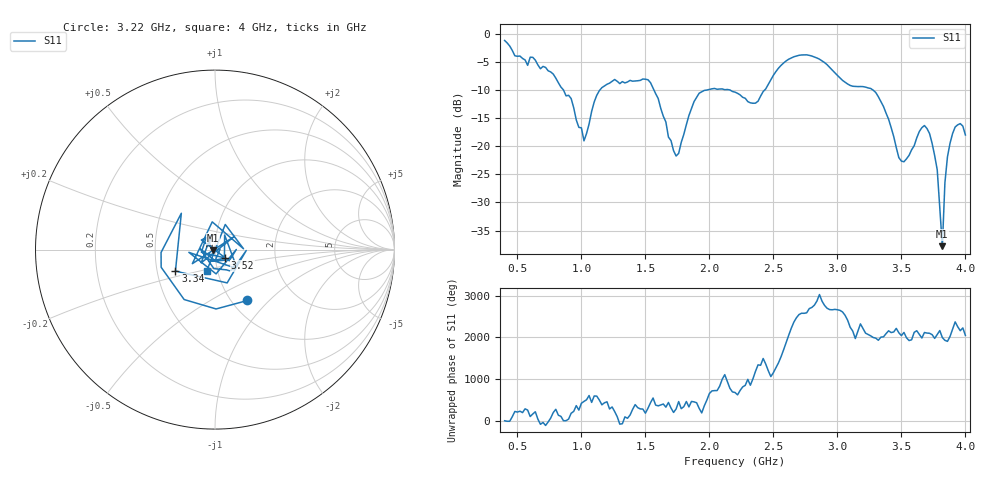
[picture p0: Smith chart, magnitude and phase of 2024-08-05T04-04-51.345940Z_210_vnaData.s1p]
!Created with skrf (http://scikit-rf.org).
# Hz S RI R 50.0
!freq ReS11 ImS11
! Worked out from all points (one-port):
!   181 points, 400 MHz to 4 GHz, reference 50 ohm
!   lowest |S11| = -37.8 dB at 3.82 GHz (marker M1), VSWR 1.03, Z = 48.8 - j0.361 ohm
!   |S11| at or under -10 dB: 860.6 MHz to 1.144 GHz (282.9 MHz wide, 28.2 % of centre); 1.567 GHz to 1.975 GHz (407.9 MHz wide, 23 % of centre); 3.279 GHz to end of sweep (the widest 3 of 4)
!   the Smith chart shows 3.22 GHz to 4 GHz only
!   S11 on the Smith chart (normalised r, x): 3.22 GHz: 1.18, -0.75; 3.34 GHz: 0.62, -0.16; 3.52 GHz: 1.11, -0.10; 4 GHz: 0.89, -0.21
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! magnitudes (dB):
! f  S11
! 400 MHz  -1.2
! 860 MHz  -10.0
! 920 MHz  -11.5
! 1.02 GHz  -19.0
! 1.14 GHz  -10.1
! 1.3 GHz  -8.8
! 1.54 GHz  -8.7
! 1.72 GHz  -20.8
! 1.76 GHz  -21.3
! 1.92 GHz  -10.5
! 2.2 GHz  -10.4
! 2.36 GHz  -12.3
! 2.66 GHz  -4.1
! 2.86 GHz  -4.5
! 3.1 GHz  -9.2
! 3.22 GHz  -9.5
! 3.34 GHz  -12.0
! 3.48 GHz  -22.0
! 3.52 GHz  -22.8
! 3.56 GHz  -21.6
! 3.66 GHz  -16.7
! 3.72 GHz  -17.7
! 3.78 GHz  -24.2
! 3.82 GHz  -37.8
! 3.84 GHz  -26.5
! 3.88 GHz  -19.5
! 3.94 GHz  -16.2
! 4 GHz  -18.0
